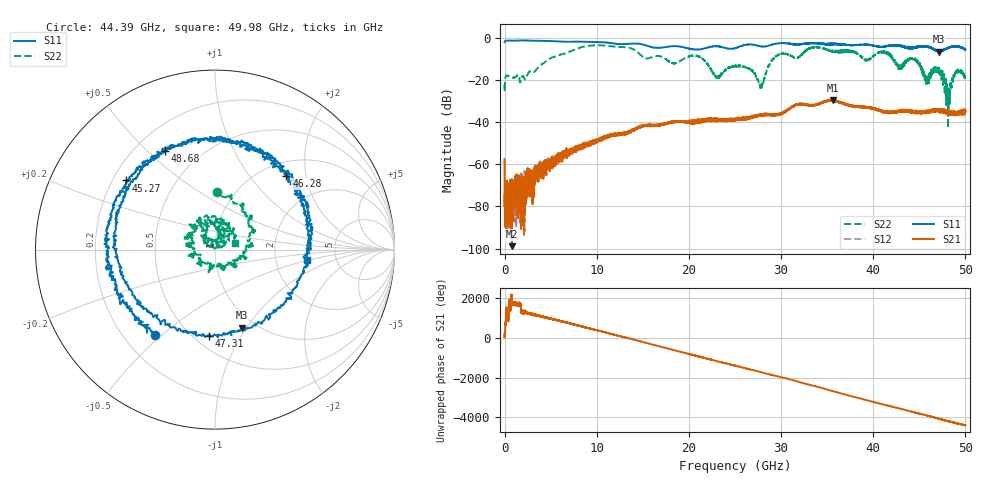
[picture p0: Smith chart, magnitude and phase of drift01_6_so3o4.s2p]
!Created with skrf (http://scikit-rf.org).
# Hz S RI R 50.0
!freq ReS11 ImS11 ReS21 ImS21 ReS12 ImS12 ReS22 ImS22
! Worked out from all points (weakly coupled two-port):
!   10001 points, 300 kHz to 50 GHz, reference 50 ohm
!   highest |S21| = -29.57 dB at 35.59 GHz (marker M1); lowest = -98.9 dB at 795.3 MHz (marker M2)
!   lowest |S11| = -6.7 dB at 47.15 GHz (marker M3), VSWR 2.71, Z = 43.3 - j47.9 ohm
!   |S11| at or under -10 dB: nowhere
!   |S22| runs from -42.9 to -3.6 dB; largest |S21 - S12| = 0.0042
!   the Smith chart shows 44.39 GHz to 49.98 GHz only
!   S11 on the Smith chart (normalised r, x): 44.39 GHz: 0.33, -0.48; 45.27 GHz: 0.25, +0.32; 46.28 GHz: 1.26, +1.55; 47.31 GHz: 0.59, -0.74; 48.68 GHz: 0.32, +0.57; 49.98 GHz: 3.03, -0.48
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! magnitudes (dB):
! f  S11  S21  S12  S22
! 300 kHz  -2.1  -57.9  -57.0  -22.0
! 255.3 MHz  -1.4  -75.4  -82.4  -18.0
! 795.3 MHz  -1.5  -98.9  -67.1  -18.9
! 8.335 GHz  -1.9  -52.8  -51.2  -4.6
! 16.67 GHz  -4.9  -41.8  -41.6  -8.7
! 20.97 GHz  -5.7  -39.8  -39.4  -8.8
! 23.07 GHz  -4.1  -38.8  -38.8  -18.7
! 25 GHz  -5.0  -39.4  -39.1  -13.6
! 27.84 GHz  -4.1  -36.6  -36.7  -22.7
! 29.47 GHz  -2.9  -36.6  -36.5  -8.8
! 33.34 GHz  -2.6  -32.2  -32.0  -4.8
! 35.59 GHz  -2.8  -29.6  -29.8  -6.6
! 41.67 GHz  -3.9  -35.3  -35.2  -7.6
! 44.39 GHz  -4.7  -35.1  -35.2  -9.9
! 45.27 GHz  -4.0  -35.4  -35.1  -15.8
! 46.28 GHz  -4.8  -34.7  -34.7  -16.5
! 47.15 GHz  -6.7  -34.9  -34.0  -14.6
! 47.31 GHz  -6.4  -34.2  -34.4  -15.3
! 48.13 GHz  -4.9  -35.7  -35.1  -35.5
! 48.68 GHz  -4.2  -35.7  -36.0  -19.4
! 49.98 GHz  -5.8  -35.1  -35.2  -18.5
! 50 GHz  -5.7  -35.4  -35.0  -18.6
